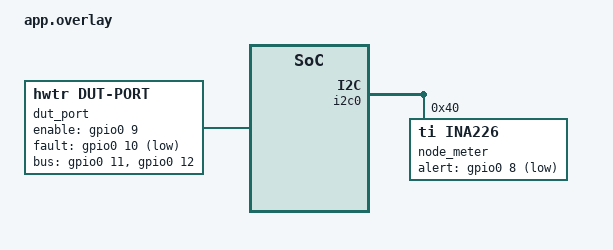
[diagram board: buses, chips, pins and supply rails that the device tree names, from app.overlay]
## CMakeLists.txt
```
# SPDX-License-Identifier: Apache-2.0
#
# Node v1.0's DATA lead (src/dut.c with src/ports.c) on native_sim: the
# eFuse's power-on rule against the emulated DATA x4 of the ports test,
# powered by the eFuse's enable.  ztest.

cmake_minimum_required(VERSION 3.20.0)

set(BAY ${CMAKE_CURRENT_SOURCE_DIR}/../..)
# Same Kconfig options and devicetree bindings as the real application
set(KCONFIG_ROOT ${BAY}/Kconfig)
list(APPEND ZEPHYR_EXTRA_MODULES ${BAY}/../..)

find_package(Zephyr REQUIRED HINTS $ENV{ZEPHYR_BASE})
project(bay_data_lead)

target_include_directories(app PRIVATE ${BAY}/src ${BAY}/tests/ports/src)
target_sources(app PRIVATE
  src/main.c
  ${BAY}/tests/ports/src/emul.c
  ${BAY}/src/dut.c
  ${BAY}/src/ports.c
)
```

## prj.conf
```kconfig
# Node v1.0's DATA lead on native_sim (see CMakeLists.txt)
# SPDX-License-Identifier: Apache-2.0

CONFIG_ZTEST=y
CONFIG_I2C=y
CONFIG_EMUL=y
CONFIG_GPIO=y
CONFIG_LOG=y
CONFIG_BAY_LOG_LEVEL_INF=y
# The INA226 nodes need their driver for the emulator to attach (never initialized)
CONFIG_SENSOR=y
# The test switches DATA_VIN on itself
CONFIG_BAY_DATA_POWER_AT_BOOT=n
# The pin matrix has its own test (tests/wires)
CONFIG_BAY_WIRES=n
```

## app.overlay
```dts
/*
 * Node v1.0 on native_sim: the DATA x4 of the ports test on the emulated
 * I2C bus (i2c0), powered through the eFuse on the DATA lead (dut_port's
 * vin-efuse), the node's own INA226 on DATA_VIN, SCL and SDA seen as two
 * emulated GPIOs.
 *
 * SPDX-License-Identifier: Apache-2.0
 */

#include "../../data-x4.dtsi"
#include "../../data-x6.dtsi"

/ {
	dut_port: dut-port {
		compatible = "hwtr,dut-port";
		enable-gpios = <&gpio0 9 GPIO_ACTIVE_HIGH>;
		fault-gpios = <&gpio0 10 GPIO_ACTIVE_LOW>;
		power-monitor = <&node_meter>;
		vin-efuse;
		bus-gpios = <&gpio0 11 GPIO_ACTIVE_HIGH>, <&gpio0 12 GPIO_ACTIVE_HIGH>;
	};
};

&i2c0 {
	/* Read raw by dut.c and ports.c; its driver is not started */
	node_meter: ina226@40 {
		compatible = "ti,ina226";
		reg = <0x40>;
		current-lsb-microamps = <50>;
		rshunt-micro-ohms = <50000>;
		alert-gpios = <&gpio0 8 GPIO_ACTIVE_LOW>;
		zephyr,deferred-init;
	};
};
```

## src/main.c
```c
/*
 * Node v1.0's DATA lead (src/dut.c, src/ports.c) against the emulated
 * DATA x4, powered by the eFuse's enable: the power-on rule of
 * docs/firmware.md.  Off at boot; on only with SCL and SDA high and the
 * node's INA226 answering; ~FLT ignored while the eFuse ramps; off again on a
 * short; the board must answer within a second; off for good on a ~FLT or a
 * board that stops answering, until the next power on.  Then the ports'
 * budget in mW on DATA_VIN: the hub's grant admits them, a lower grant sheds
 * the last ones switched on, without a grant the bay's own limit; a refused
 * request is not queued unless it asked to be (on as soon as there is room).
 *
 * SPDX-License-Identifier: Apache-2.0
 */

#include <zephyr/kernel.h>
#include <zephyr/drivers/gpio.h>
#include <zephyr/drivers/gpio/gpio_emul.h>
#include <zephyr/ztest.h>

#include "bay.h"
#include "emul.h"

#define DUT DT_NODELABEL(dut_port)

static const struct gpio_dt_spec en = GPIO_DT_SPEC_GET(DUT, enable_gpios);
static const struct gpio_dt_spec flt = GPIO_DT_SPEC_GET(DUT, fault_gpios);
static const struct gpio_dt_spec scl = GPIO_DT_SPEC_GET_BY_IDX(DUT, bus_gpios, 0);
static const struct gpio_dt_spec sda = GPIO_DT_SPEC_GET_BY_IDX(DUT, bus_gpios, 1);

static bool off_at_boot;
static int count_at_boot = -1, offline_at_boot = -1;
static int grant_mw = -1; /* the hub's grant, -1 none */

/* --- What dut.c and ports.c need from the rest of the node ------------------ */

void aux_dut_power(bool on)
{
	ARG_UNUSED(on);
}

bool bay_rack_grant(struct rack_grant *g)
{
	if (grant_mw < 0) {
		return false;
	}
	*g = (struct rack_grant){.mw = (uint16_t)grant_mw, .flags = RACK_GRANT_ROW};
	return true;
}

int usb_host_port_device(uint8_t hub_port, uint16_t *vid, uint16_t *pid)
{
	ARG_UNUSED(hub_port);
	ARG_UNUSED(vid);
	ARG_UNUSED(pid);
	return -ENODEV;
}

/* --- Helpers ---------------------------------------------------------------- */

static bool lead_on(void)
{
	return gpio_emul_output_get(en.port, en.pin) > 0;
}

/* The eFuse's ~FLT (open drain, pulled up): low in a fault */
static void flt_set(bool fault)
{
	(void)gpio_emul_input_set(flt.port, flt.pin, fault ? 0 : 1);
}

static void flt_release_handler(struct k_work *work)
{
	ARG_UNUSED(work);
	flt_set(false);
}

static K_WORK_DELAYABLE_DEFINE(flt_release, flt_release_handler);

/* The ports' INA226s (data-x4.dtsi) */
static const uint8_t ina[4] = {0x41, 0x43, 0x44, 0x45};

static void ports_draw(int ma)
{
	for (int i = 0; i < 4; i++) {
		emul_ina_ma(ina[i], ma);
	}
}

static bool port_on_slot(int slot)
{
	struct port_info pi;

	return ports_info(slot, &pi) == 0 && pi.on;
}

static int ports_on(void)
{
	struct port_info pi;
	int n = 0;

	for (int i = 1; i <= 4; i++) {
		if (ports_info(i, &pi) == 0 && pi.on) {
			n++;
		}
	}
	return n;
}

static void *suite_setup(void)
{
	zassert_ok(dut_init());
	off_at_boot = !lead_on() && !dut_power_get();
	zassert_ok(ports_init());
	/* On the node they stay the I2C controller's pins: here plain inputs */
	zassert_ok(gpio_pin_configure_dt(&scl, GPIO_INPUT));
	zassert_ok(gpio_pin_configure_dt(&sda, GPIO_INPUT));
	/* What ports.c did after its first set-up delay, DATA_VIN still off */
	k_sleep(K_MSEC(100));
	count_at_boot = ports_count();
	offline_at_boot = emul_offline();
	return NULL;
}

static void before(void *f)
{
	ARG_UNUSED(f);

	(void)dut_power_set(false);
	k_work_cancel_delayable(&flt_release);
	flt_set(false);
	(void)gpio_emul_input_set(scl.port, scl.pin, 1);
	(void)gpio_emul_input_set(sda.port, sda.pin, 1);
	emul_vin(20000);
	emul_lead_short(false);
	emul_board(true);
	emul_board_kind(4);
	emul_meter(true);
	emul_board_ma(300);
	grant_mw = -1;
	for (int io = 0; io < 2; io++) {
		for (int pin = 0; pin < 8; pin++) {
			emul_io_pin(io, pin, true);
		}
	}
	for (int i = 0; i < 4; i++) {
		emul_ina_ma(ina[i], 0);
	}
	k_sleep(K_MSEC(50));
}

/* --- Tests ------------------------------------------------------------------ */

ZTEST(data_lead, test_01_off_at_boot)
{
	zassert_true(off_at_boot, "the eFuse stays off until the checks pass");
	zassert_equal(count_at_boot, 0, "no board set up while DATA_VIN is off");
	zassert_equal(offline_at_boot, 0, "no I2C to an unpowered board");
}

ZTEST(data_lead, test_02_on)
{
	zassert_ok(dut_power_set(true));
	zassert_true(lead_on());
	zassert_true(dut_power_get());
	zassert_equal(dut_lead_state(NULL), DUT_LEAD_OK);
	/* The board set up, its ports on one at a time */
	k_sleep(K_MSEC(1500));
	zassert_equal(ports_count(), 4);
	zassert_equal(ports_on(), 4);
	zassert_true(lead_on(), "still on: the board answers");

	zassert_ok(dut_power_set(false));
	zassert_false(lead_on());
	zassert_equal(ports_on(), 0);
}

ZTEST(data_lead, test_03_lead_reversed)
{
	/* A lead plugged 1:1 holds SCL near 0.6 V */
	(void)gpio_emul_input_set(scl.port, scl.pin, 0);
	zassert_equal(dut_power_set(true), -EIO);
	zassert_false(lead_on(), "never switched on");
	zassert_equal(dut_lead_state(NULL), DUT_LEAD_BUS);
	zassert_not_null(dut_lead_str(DUT_LEAD_BUS));

	(void)gpio_emul_input_set(scl.port, scl.pin, 1);
	(void)gpio_emul_input_set(sda.port, sda.pin, 0);
	zassert_equal(dut_power_set(true), -EIO);
	zassert_equal(dut_lead_state(NULL), DUT_LEAD_BUS);

	/* Released: on */
	(void)gpio_emul_input_set(sda.port, sda.pin, 1);
	zassert_ok(dut_power_set(true));
	zassert_true(lead_on());
}

ZTEST(data_lead, test_04_meter_missing)
{
	emul_meter(false);
	zassert_equal(dut_power_set(true), -ENODEV);
	zassert_false(lead_on());
	zassert_equal(dut_lead_state(NULL), DUT_LEAD_METER);
}

ZTEST(data_lead, test_05_short)
{
	int32_t mv = -1;

	/* A camera lead in J7: the eFuse limits, ~FLT low, DATA_VIN near 0 */
	emul_lead_short(true);
	flt_set(true);
	zassert_equal(dut_power_set(true), -EIO);
	zassert_false(lead_on(), "off again");
	zassert_equal(dut_lead_state(&mv), DUT_LEAD_SHORT);
	zassert_true(mv < CONFIG_BAY_DATA_VIN_MIN_MV, "%d mV", mv);
	zassert_true(dut_fault_latched());

	/* DATA_VIN too low alone is enough */
	flt_set(false);
	emul_lead_short(false);
	emul_vin(12000);
	zassert_equal(dut_power_set(true), -EIO);
	zassert_equal(dut_lead_state(NULL), DUT_LEAD_SHORT);
}

ZTEST(data_lead, test_06_flt_blanked_while_ramping)
{
	/* ~FLT low while the eFuse is off, high 5 ms after it ramps: ignored */
	flt_set(true);
	k_work_reschedule(&flt_release, K_MSEC(5));
	zassert_ok(dut_power_set(true));
	zassert_true(lead_on());
	zassert_equal(dut_lead_state(NULL), DUT_LEAD_OK);
	zassert_false(dut_fault_active());
}

ZTEST(data_lead, test_07_flt_while_on)
{
	uint32_t faults = dut_fault_count();

	zassert_ok(dut_power_set(true));
	k_sleep(K_MSEC(300));
	zassert_true(ports_on() > 0);

	flt_set(true);
	k_sleep(K_MSEC(10));
	zassert_false(lead_on(), "off at once");
	zassert_false(dut_power_get());
	zassert_equal(dut_lead_state(NULL), DUT_LEAD_FAULT);
	zassert_true(dut_fault_latched());
	zassert_true(dut_fault_count() > faults);
	zassert_equal(ports_on(), 0);

	/* No retry from the firmware, even once ~FLT is high again */
	flt_set(false);
	k_sleep(K_MSEC(300));
	zassert_false(lead_on());

	/* Until the next power on */
	zassert_ok(dut_power_set(true));
	zassert_true(lead_on());
	zassert_false(dut_fault_latched());
	zassert_equal(dut_lead_state(NULL), DUT_LEAD_OK);
}

ZTEST(data_lead, test_08_no_board)
{
	emul_board(false);
	zassert_ok(dut_power_set(true), "DATA_VIN reads right: on");
	zassert_true(lead_on());
	k_sleep(K_MSEC(CONFIG_BAY_DATA_ANSWER_MS / 2));
	zassert_true(lead_on(), "the board still has time to answer");
	k_sleep(K_MSEC(CONFIG_BAY_DATA_ANSWER_MS));
	zassert_false(lead_on(), "nothing answered: off");
	zassert_equal(dut_lead_state(NULL), DUT_LEAD_NO_BOARD);
	zassert_false(dut_fault_latched(), "not a fault");

	/* No probing afterwards: off until the next power on */
	emul_board(true);
	k_sleep(K_MSEC(500));
	zassert_false(lead_on());
	zassert_ok(dut_power_set(true));
	k_sleep(K_MSEC(300));
	zassert_equal(ports_count(), 4);
}

ZTEST(data_lead, test_09_board_gone)
{
	zassert_ok(dut_power_set(true));
	k_sleep(K_MSEC(300));
	zassert_equal(ports_count(), 4);

	/* Two polls without an answer */
	emul_board(false);
	k_sleep(K_MSEC(3 * CONFIG_BAY_PORTS_POLL_MS + 20));
	zassert_false(lead_on(), "off after two missed polls");
	zassert_equal(dut_lead_state(NULL), DUT_LEAD_BOARD_GONE);
	zassert_true(dut_fault_latched());

	/* The lead plugged back into a J7 that stays at 0 V */
	emul_board(true);
	k_sleep(K_MSEC(300));
	zassert_false(lead_on());

	/* Switched off on request: the reason goes */
	zassert_ok(dut_power_set(false));
	zassert_equal(dut_lead_state(NULL), DUT_LEAD_OK);
}

/*
 * The budget in watts on DATA_VIN (20 V here; the board's 5 V at 88 %): the
 * board alone 1.7 W, each port drawing 200 mA at 5 V about 1.14 W more
 * (2.84, 3.96, 5.1, 6.24 W with one to four on); 0.6 W kept for a start.
 */

ZTEST(data_lead, test_10_grant_admits)
{
	struct ports_budget pb;
	struct port_info pi;

	/* 4 W from the hub: two ports (3.96 W), the third would need 4.56 W */
	grant_mw = 4000;
	ports_draw(200);
	zassert_ok(dut_power_set(true));
	k_sleep(K_MSEC(1500));
	zassert_equal(ports_on(), 2, "%d ports on", ports_on());
	zassert_equal(ports_waiting(), 2);
	zassert_ok(ports_info(3, &pi));
	zassert_true(pi.waiting);
	zassert_false(pi.shed);
	zassert_ok(ports_budget(&pb));
	zassert_true(pb.power);
	zassert_true(pb.granted);
	zassert_equal(pb.limit, 4000);
	zassert_equal(pb.reserve, CONFIG_BAY_PORTS_RESERVE_MW);
	zassert_within(pb.draw, 3960, 50, "the bay draws %d mW", pb.draw);
	zassert_equal(pb.waiting, 2);

	/* The hub grants more: the waiting ports come on, one after the other */
	grant_mw = 8000;
	k_sleep(K_MSEC(2000));
	zassert_equal(ports_on(), 4);
	zassert_equal(ports_waiting(), 0);
}

ZTEST(data_lead, test_11_shed_over_the_grant)
{
	struct ports_budget pb;
	struct port_info pi;
	uint32_t sheds;

	grant_mw = 8000;
	ports_draw(200);
	zassert_ok(dut_power_set(true));
	k_sleep(K_MSEC(1500));
	zassert_equal(ports_on(), 4);
	zassert_ok(ports_budget(&pb));
	sheds = pb.sheds;

	/* The grant drops to 3 W: the last ports switched on go until the bay fits (2.84 W) */
	grant_mw = 3000;
	k_sleep(K_MSEC(300));
	zassert_equal(ports_on(), 1, "%d ports on", ports_on());
	zassert_true(port_on_slot(1), "the first one switched on stays");
	for (int slot = 2; slot <= 4; slot++) {
		zassert_ok(ports_info(slot, &pi));
		zassert_true(pi.shed, "port %d shed", slot);
		zassert_true(pi.waiting && pi.wanted, "port %d wanted back", slot);
	}
	zassert_ok(ports_budget(&pb));
	zassert_equal(pb.sheds - sheds, 3);

	/* No room for what they drew: they stay off */
	k_sleep(K_MSEC(1500));
	zassert_equal(ports_on(), 1);

	/* Room again: back, one after the other */
	grant_mw = 8000;
	k_sleep(K_MSEC(2500));
	zassert_equal(ports_on(), 4);
	zassert_ok(ports_info(4, &pi));
	zassert_false(pi.shed);
}

ZTEST(data_lead, test_12_no_grant)
{
	struct ports_budget pb;
	struct port_info pi;

	/* No hub: the bay's own limit */
	ports_draw(200);
	zassert_ok(dut_power_set(true));
	k_sleep(K_MSEC(1500));
	zassert_equal(ports_on(), 4);
	zassert_ok(ports_budget(&pb));
	zassert_false(pb.granted);
	zassert_equal(pb.limit, CONFIG_BAY_PORTS_LIMIT_MW);

	/*
	 * A request the budget refuses is not queued: off, not wanted, not
	 * waiting.  The ports idle now (the board's 1.7 W), 2 W granted: no room
	 * for a start (0.6 W), nothing to shed either.
	 */
	ports_draw(0);
	zassert_ok(ports_power(4, false, NULL));
	grant_mw = 2000;
	k_sleep(K_MSEC(300));
	zassert_equal(ports_on(), 3, "nothing shed");
	zassert_equal(ports_power(4, true, NULL), -EBUSY);
	zassert_ok(ports_info(4, &pi));
	zassert_false(pi.wanted);
	zassert_false(pi.waiting);
	zassert_equal(ports_waiting(), 0);
}

ZTEST(data_lead, test_13_queued)
{
	struct port_info pi;

	/* Three ports on and idle (the board's 1.7 W), 2 W granted: no room for the fourth */
	grant_mw = 8000;
	zassert_ok(dut_power_set(true));
	k_sleep(K_MSEC(1500));
	zassert_ok(ports_power(4, false, NULL));
	zassert_equal(ports_on(), 3);
	grant_mw = 2000;
	k_sleep(K_MSEC(300));

	/* Queued: off, wanted, waiting in its turn as the ports wanted at boot */
	zassert_equal(ports_power_wait(4), -EINPROGRESS);
	zassert_ok(ports_info(4, &pi));
	zassert_false(pi.on);
	zassert_true(pi.queued && pi.wanted && pi.waiting);
	zassert_equal(ports_waiting(), 1);
	k_sleep(K_MSEC(500));
	zassert_false(port_on_slot(4), "still no room");

	/* Room: on by itself */
	grant_mw = 8000;
	k_sleep(K_MSEC(1000));
	zassert_true(port_on_slot(4));
	zassert_ok(ports_info(4, &pi));
	zassert_false(pi.queued);
	zassert_equal(ports_waiting(), 0);

	/* Cancelled: off, no longer wanted, never started */
	zassert_ok(ports_power(4, false, NULL));
	grant_mw = 2000;
	k_sleep(K_MSEC(300));
	zassert_equal(ports_power_wait(4), -EINPROGRESS);
	zassert_ok(ports_power_cancel(4));
	zassert_ok(ports_info(4, &pi));
	zassert_false(pi.queued || pi.wanted || pi.waiting);
	zassert_equal(ports_power_cancel(4), -EALREADY, "nothing left to cancel");
	grant_mw = 8000;
	k_sleep(K_MSEC(1000));
	zassert_false(port_on_slot(4));

	/* An explicit off withdraws it too */
	grant_mw = 2000;
	k_sleep(K_MSEC(300));
	zassert_equal(ports_power_wait(4), -EINPROGRESS);
	zassert_ok(ports_power(4, false, NULL));
	zassert_ok(ports_info(4, &pi));
	zassert_false(pi.queued || pi.wanted);
	grant_mw = 8000;
	k_sleep(K_MSEC(1000));
	zassert_false(port_on_slot(4));

	/* With room it goes on at once */
	zassert_ok(ports_power_wait(4));
	zassert_true(port_on_slot(4));
	zassert_ok(ports_info(4, &pi));
	zassert_false(pi.queued);
}

ZTEST(data_lead, test_14_data_x6)
{
	int on = 0;

	/* A DATA x6 on the lead instead: it answers in time, its six ports come on */
	emul_board_kind(6);
	for (int pin = 0; pin < 16; pin++) {
		emul_io_pin(0, pin, true);
	}
	zassert_ok(dut_power_set(true));
	k_sleep(K_MSEC(2500));
	zassert_true(lead_on(), "it answered: DATA_VIN stays on");
	zassert_equal(dut_lead_state(NULL), DUT_LEAD_OK);
	zassert_equal(ports_board(), DATA_X6);
	zassert_equal(ports_count(), 6);
	for (int i = 1; i <= 6; i++) {
		on += port_on_slot(i);
	}
	zassert_equal(on, 6);
	zassert_ok(dut_power_set(false));
}

ZTEST(data_lead, test_15_neither)
{
	/* Something at 0x20 that is neither board: as no board, DATA_VIN off */
	emul_board_kind(1);
	zassert_ok(dut_power_set(true));
	k_sleep(K_MSEC(CONFIG_BAY_DATA_ANSWER_MS + 300));
	zassert_false(lead_on());
	zassert_equal(dut_lead_state(NULL), DUT_LEAD_NO_BOARD);
	zassert_equal(ports_count(), 0);
	zassert_equal(ports_board(), DATA_UNKNOWN, "kept while the lead is off, for the page");
}

ZTEST_SUITE(data_lead, NULL, suite_setup, before, NULL, NULL);
```
